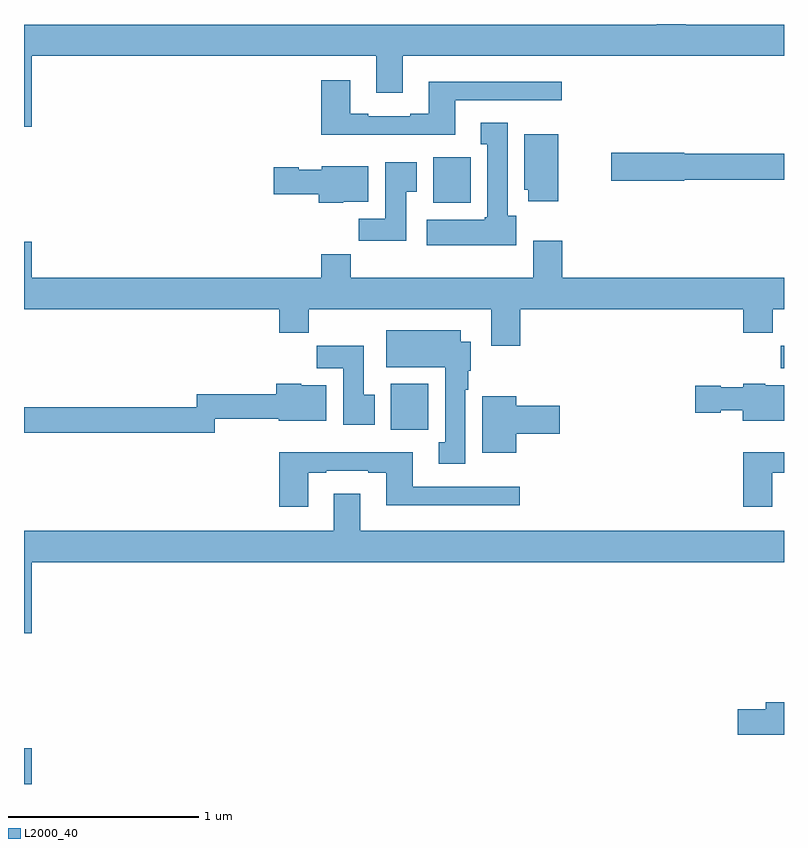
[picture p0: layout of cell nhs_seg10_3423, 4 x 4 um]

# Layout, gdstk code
import gdstk
lib = gdstk.Library(unit=1e-6, precision=1e-09)
def R(c, l, rs):  # rectangles x0, y0, x1, y1
    for r in rs: c.add(gdstk.rectangle(r[:2], r[2:], *l))
def P(c, l, *ps):  # polygons
    for p in ps: c.add(gdstk.Polygon(p, *l))
L2000_40 = (2000, 40)

nhs_seg10_3423 = lib.new_cell('nhs_seg10_3423')
R(nhs_seg10_3423, L2000_40, [(297,1280.5,297.04,1280.689), (298.931,1282.364,299.128,1282.606), (300.982,1282.688,301,1282.806), (299.153,1283.558,299.35,1283.8)])
P(nhs_seg10_3423, L2000_40, [(297.04,1284.332),(298.853,1284.332),(298.853,1284.138),(298.993,1284.138),(298.993,1284.332),(301,1284.332),(301,1284.496),(300.482,1284.496),(300.482,1284.5),(300.329,1284.5),(300.329,1284.496),(297,1284.496),(297,1283.958),(297.04,1283.958)],
  [(299.269,1284.099),(299.83,1284.099),(299.83,1284.196),(299.129,1284.196),(299.129,1284.028),(299.033,1284.028),(299.033,1284.015),(298.813,1284.015),(298.813,1284.028),(298.717,1284.028),(298.717,1284.205),(298.565,1284.205),(298.565,1283.918),(299.269,1283.918)],
  [(299.59,1283.49),(299.545,1283.49),(299.545,1283.98),(299.405,1283.98),(299.405,1283.867),(299.438,1283.867),(299.438,1283.484),(299.425,1283.484),(299.425,1283.47),(299.121,1283.47),(299.121,1283.336),(299.59,1283.336)],
  [(299.812,1283.92),(299.633,1283.92),(299.633,1283.628),(299.654,1283.628),(299.654,1283.568),(299.812,1283.568)],
  [(300.474,1283.68),(301,1283.68),(301,1283.816),(300.474,1283.816),(300.474,1283.822),(300.09,1283.822),(300.09,1283.675),(300.474,1283.675)],
  [(299.011,1283.617),(299.068,1283.617),(299.068,1283.773),(298.901,1283.773),(298.901,1283.476),(298.762,1283.476),(298.762,1283.358),(299.011,1283.358)],
  [(298.68,1283.564),(298.813,1283.564),(298.813,1283.752),(298.566,1283.752),(298.566,1283.734),(298.446,1283.734),(298.446,1283.747),(298.314,1283.747),(298.314,1283.605),(298.55,1283.605),(298.55,1283.558),(298.68,1283.558)],
  [(297,1283.353),(297,1283),(298.343,1283),(298.343,1282.876),(298.499,1282.876),(298.499,1283),(299.459,1283),(299.459,1282.806),(299.612,1282.806),(299.612,1283),(300.785,1283),(300.785,1282.876),(300.941,1282.876),(300.941,1283),(301,1283),(301,1283.164),(299.834,1283.164),(299.834,1283.359),(299.681,1283.359),(299.681,1283.164),(298.721,1283.164),(298.721,1283.288),(298.565,1283.288),(298.565,1283.164),(297.04,1283.164),(297.04,1283.353)],
  [(299.323,1282.574),(299.338,1282.574),(299.338,1282.674),(299.35,1282.674),(299.35,1282.828),(299.299,1282.828),(299.299,1282.888),(298.907,1282.888),(298.907,1282.694),(299.216,1282.694),(299.216,1282.298),(299.183,1282.298),(299.183,1282.185),(299.323,1282.185)],
  [(298.846,1282.548),(298.789,1282.548),(298.789,1282.806),(298.54,1282.806),(298.54,1282.688),(298.679,1282.688),(298.679,1282.392),(298.846,1282.392)],
  [(301,1282.6),(300.9,1282.6),(300.9,1282.606),(300.786,1282.606),(300.786,1282.588),(300.666,1282.588),(300.666,1282.596),(300.534,1282.596),(300.534,1282.454),(300.666,1282.454),(300.666,1282.466),(300.782,1282.466),(300.782,1282.412),(301,1282.412)],
  [(298.005,1282.423),(298.34,1282.423),(298.34,1282.412),(298.591,1282.412),(298.591,1282.6),(298.458,1282.6),(298.458,1282.606),(298.328,1282.606),(298.328,1282.552),(297.909,1282.552),(297.909,1282.484),(297,1282.484),(297,1282.348),(298.005,1282.348)],
  [(299.59,1282.343),(299.821,1282.343),(299.821,1282.49),(299.59,1282.49),(299.59,1282.54),(299.411,1282.54),(299.411,1282.244),(299.59,1282.244)],
  [(300.937,1282.137),(301,1282.137),(301,1282.246),(300.785,1282.246),(300.785,1281.96),(300.937,1281.96)],
  [(298.495,1282.137),(298.591,1282.137),(298.591,1282.149),(298.811,1282.149),(298.811,1282.137),(298.907,1282.137),(298.907,1281.968),(299.608,1281.968),(299.608,1282.065),(299.047,1282.065),(299.047,1282.246),(298.343,1282.246),(298.343,1281.96),(298.495,1281.96)],
  [(297.04,1281.668),(301,1281.668),(301,1281.832),(298.771,1281.832),(298.771,1282.027),(298.631,1282.027),(298.631,1281.832),(297,1281.832),(297,1281.294),(297.04,1281.294)],
  [(301,1280.93),(300.905,1280.93),(300.905,1280.894),(300.756,1280.894),(300.756,1280.759),(301,1280.759)])

lib.write_gds('nhs_seg10_3423.gds')
